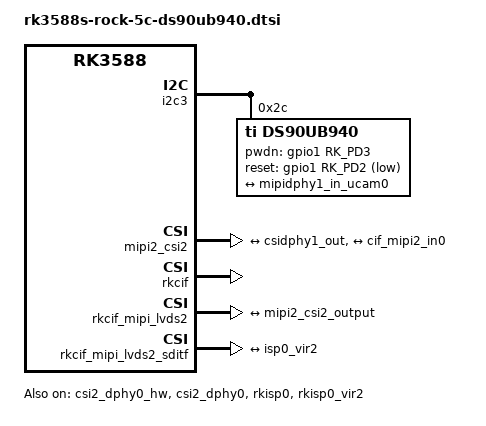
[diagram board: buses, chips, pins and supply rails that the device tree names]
// SPDX-License-Identifier: (GPL-2.0+ OR MIT)
/*
 * Copyright (c) 2022 Rockchip Electronics Co., Ltd.
 *
 */

/ {
	compatible = "radxa,rock-5c", "rockchip,rk3588";
};

&i2c3 {
	status = "okay";

	ds90ub940: ds90ub940@2c {
		status = "okay";
		compatible = "ti,ds90ub940";
		reg = <0x2c>;
		clocks = <&cru CLK_MIPI_CAMARAOUT_M2>;
		clock-names = "xvclk";
		pinctrl-names = "default";
		pinctrl-0 = <&mipim0_camera2_clk>;
		power-domains = <&power RK3588_PD_VI>;
		pwdn-gpios = <&gpio1 RK_PD3 GPIO_ACTIVE_HIGH>;
		reset-gpios = <&gpio1 RK_PD2 GPIO_ACTIVE_LOW>;
		rockchip,camera-module-index = <0>;
		rockchip,camera-module-facing = "back";
		rockchip,camera-module-name = "CMK-OT2022-PX1";
		rockchip,camera-module-lens-name = "IR0147-50IRC-8M-F20";
		port {
			ds90ub940_out0: endpoint {
				remote-endpoint = <&mipidphy1_in_ucam0>;
				data-lanes = <1 2 3 4>;
			};
		};
	};
};

&csi2_dphy0_hw {
	status = "okay";
};

&csi2_dphy0 {
	status = "okay";

	ports {
		#address-cells = <1>;
		#size-cells = <0>;

		port@0 {
			reg = <0>;
			#address-cells = <1>;
			#size-cells = <0>;

			mipidphy1_in_ucam0: endpoint@1 {
				reg = <1>;
				remote-endpoint = <&ds90ub940_out0>;
				data-lanes = <1 2 3 4>;
			};
		};

		port@1 {
			reg = <1>;
			#address-cells = <1>;
			#size-cells = <0>;

			csidphy1_out: endpoint@0 {
				reg = <0>;
				remote-endpoint = <&mipi2_csi2_input>;
			};
		};
	};
};

&mipi2_csi2 {
	status = "okay";

	ports {
		#address-cells = <1>;
		#size-cells = <0>;

		port@0 {
			reg = <0>;
			#address-cells = <1>;
			#size-cells = <0>;

			mipi2_csi2_input: endpoint@1 {
				reg = <1>;
				remote-endpoint = <&csidphy1_out>;
			};
		};

		port@1 {
			reg = <1>;
			#address-cells = <1>;
			#size-cells = <0>;

			mipi2_csi2_output: endpoint@0 {
				reg = <0>;
				remote-endpoint = <&cif_mipi2_in0>;
			};
		};
	};
};

&rkcif {
	status = "okay";
};

&rkcif_mipi_lvds2 {
	status = "okay";

	port {
		cif_mipi2_in0: endpoint {
			remote-endpoint = <&mipi2_csi2_output>;
		};
	};
};

&rkcif_mipi_lvds2_sditf {
	status = "okay";

	port {
		mipi_lvds2_sditf: endpoint {
			remote-endpoint = <&isp0_vir2>;
		};
	};
};

&rkcif_mmu {
	status = "okay";
};

&rkisp0 {
	status = "okay";
};

&isp0_mmu {
	status = "okay";
};

&rkisp0_vir2 {
	status = "okay";

	port {
		#address-cells = <1>;
		#size-cells = <0>;

		isp0_vir2: endpoint@0 {
			reg = <0>;
			remote-endpoint = <&mipi_lvds2_sditf>;
		};
	};
};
